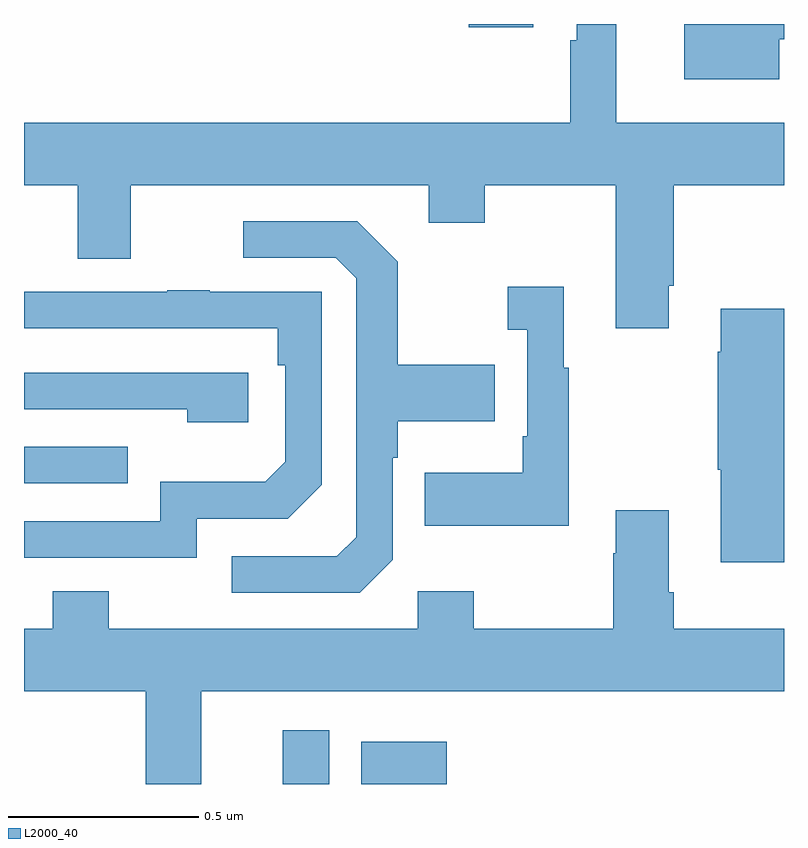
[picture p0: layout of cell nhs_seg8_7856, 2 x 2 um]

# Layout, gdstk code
import gdstk
lib = gdstk.Library(unit=1e-6, precision=1e-09)
def R(c, l, rs):  # rectangles x0, y0, x1, y1
    for r in rs: c.add(gdstk.rectangle(r[:2], r[2:], *l))
def P(c, l, *ps):  # polygons
    for p in ps: c.add(gdstk.Polygon(p, *l))
L2000_40 = (2000, 40)

nhs_seg8_7856 = lib.new_cell('nhs_seg8_7856')
R(nhs_seg8_7856, L2000_40, [(215.681,1138.9,215.803,1139.041), (215.888,1138.9,216.113,1139.011), (215,1139.691,215.273,1139.787), (216.17,1140.891,216.34,1140.9)])
P(nhs_seg8_7856, L2000_40, [(216.697,1140.211),(216.71,1140.211),(216.71,1140.476),(217,1140.476),(217,1140.64),(216.559,1140.64),(216.559,1140.9),(216.455,1140.9),(216.455,1140.857),(216.438,1140.857),(216.438,1140.64),(215,1140.64),(215,1140.476),(215.141,1140.476),(215.141,1140.282),(215.281,1140.282),(215.281,1140.476),(216.065,1140.476),(216.065,1140.377),(216.213,1140.377),(216.213,1140.476),(216.557,1140.476),(216.557,1140.099),(216.697,1140.099)],
  [(216.988,1140.86),(217,1140.86),(217,1140.9),(216.737,1140.9),(216.737,1140.755),(216.988,1140.755)],
  [(215.97,1139.49),(215.97,1139.759),(215.983,1139.759),(215.983,1139.855),(216.239,1139.855),(216.239,1140.003),(215.983,1140.003),(215.983,1140.275),(215.877,1140.381),(215.577,1140.381),(215.577,1140.285),(215.82,1140.285),(215.874,1140.231),(215.874,1139.55),(215.823,1139.499),(215.547,1139.499),(215.547,1139.403),(215.883,1139.403)],
  [(216.433,1139.995),(216.421,1139.995),(216.421,1140.208),(216.273,1140.208),(216.273,1140.095),(216.324,1140.095),(216.324,1139.815),(216.312,1139.815),(216.312,1139.719),(216.055,1139.719),(216.055,1139.579),(216.433,1139.579)],
  [(215.454,1139.598),(215.694,1139.598),(215.784,1139.688),(215.784,1140.195),(215.489,1140.195),(215.489,1140.2),(215.377,1140.2),(215.377,1140.195),(215,1140.195),(215,1140.099),(215.668,1140.099),(215.668,1140.002),(215.688,1140.002),(215.688,1139.748),(215.635,1139.695),(215.358,1139.695),(215.358,1139.592),(215,1139.592),(215,1139.496),(215.454,1139.496)],
  [(217,1140.151),(216.833,1140.151),(216.833,1140.038),(216.826,1140.038),(216.826,1139.727),(216.833,1139.727),(216.833,1139.484),(217,1139.484)],
  [(215.59,1139.982),(215,1139.982),(215,1139.886),(215.429,1139.886),(215.429,1139.852),(215.59,1139.852)],
  [(215.075,1139.407),(215.075,1139.308),(215,1139.308),(215,1139.144),(215.32,1139.144),(215.32,1138.9),(215.467,1138.9),(215.467,1139.144),(217,1139.144),(217,1139.308),(216.71,1139.308),(216.71,1139.404),(216.697,1139.404),(216.697,1139.62),(216.557,1139.62),(216.557,1139.507),(216.55,1139.507),(216.55,1139.308),(216.183,1139.308),(216.183,1139.407),(216.036,1139.407),(216.036,1139.308),(215.223,1139.308),(215.223,1139.407)])

lib.write_gds('nhs_seg8_7856.gds')
